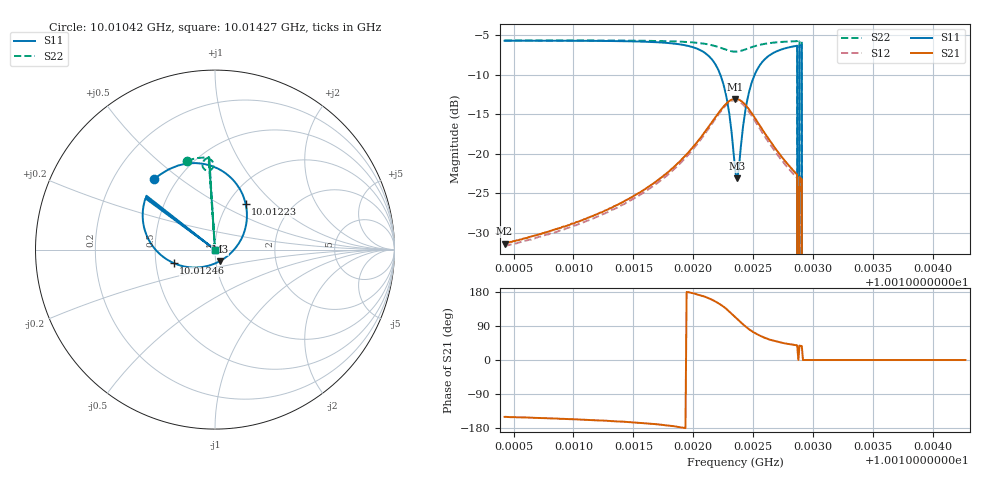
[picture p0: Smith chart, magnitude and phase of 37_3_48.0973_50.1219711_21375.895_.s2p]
#  HZ  S  RI  R  50.00
! Rohde & Schwarz Vector Network Analyzer
! Rohde-Schwarz,ZNB20-2Port,1311601062101988,3.16
! Created: UTC 12/23/2023, 3:38:21 AM
! freq[Hz]  re:S11  im:S11  re:S21  im:S21  re:S12  im:S12  re:S22  im:S22
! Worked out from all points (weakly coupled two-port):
!   401 points, 10.01042 GHz to 10.01427 GHz, reference 50 ohm
!   highest |S21| = -13.07 dB at 10.01235 GHz (marker M1); lowest = -31.4 dB at 10.01042 GHz (marker M2)
!   lowest |S11| = -23.1 dB at 10.01237 GHz (marker M3), VSWR 1.15, Z = 52.3 - j6.76 ohm
!   |S11| at or under -10 dB: 10.01223 GHz to 10.01251 GHz (288.1 kHz wide, 0.00288 % of centre); 10.01287 GHz to 10.01289 GHz (18.87 kHz wide, 0.000188 % of centre); 10.01291 GHz to end of sweep
!   |S22| runs from - to -5.7 dB; largest |S21 - S12| = 0.01
!   S11 on the Smith chart (normalised r, x): 10.01042 GHz: 0.38, +0.40; 10.01223 GHz: 1.21, +0.67; 10.01246 GHz: 0.62, -0.10; 10.01427 GHz: 1.00, +0.00
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1.0010425e10  -0.3392 0.391  -0.0234 -0.0134  -0.0217 -0.0142  -0.1546 0.4958
1.0011069e10  -0.2824 0.4331  -0.0349 -0.0146  -0.0328 -0.0158  -0.1114 0.5074
1.0011714e10  -0.1663 0.4774  -0.0677 -0.0117  -0.0645 -0.0149  -0.0601 0.5124
1.001206e10  0.0176 0.4504  -0.124 0.0206  -0.1214 0.013  -0.0217 0.4992
1.0012156e10  0.1091 0.3784  -0.1476 0.0566  -0.147 0.0476  -0.0108 0.4849
1.0012233e10  0.1712 0.2526  -0.156 0.1085  -0.1577 0.0996  -0.00853 0.4657
1.0012291e10  0.1664 0.1093  -0.1382 0.161  -0.1426 0.1518  -0.0168 0.4494
1.0012349e10  0.0752 -0.0315  -0.0893 0.2032  -0.094 0.196  -0.0354 0.4401
1.0012368e10  0.0271 -0.0643  -0.0686 0.2101  -0.0729 0.2034  -0.0428 0.4402
1.0012435e10  -0.1615 -0.0959  0.00447 0.2032  -0.00109 0.1967  -0.0631 0.452
1.0012464e10  -0.2303 -0.0753  0.0283 0.189  0.0216 0.1829  -0.0678 0.4598
1.0012522e10  -0.3263 -0.00614  0.0566 0.1549  0.0504 0.1499  -0.07 0.4751
1.0012599e10  -0.3856 0.0915  0.0704 0.1142  0.0635 0.1109  -0.0649 0.4909
1.0012849e10  -0.3901 0.2771  0.0587 0.0484  0.0539 0.0485  -0.0381 0.5127
1.0012858e10  -0.3887 0.2811  0.0581 0.0472  0.053 0.0473  -0.0371 0.5131
1.0012887e10  -0.3846 0.2929  0.056 0.0434  0.0515 0.0436  -0.0341 0.5143
1.0012897e10  -0.3832 0.2966  0.0556 0.0422  0.051 0.0425  -0.0331 0.5145
1.0012906e10  -0.3819 0.3001  0.0549 0.0413  0.0503 0.0415  -0.0323 0.5148
1.0012935e10  0 0  0 0  0 0  0 0
1.0012993e10  0 0  0 0  0 0  0 0
1.0013638e10  0 0  0 0  0 0  0 0
1.0014272e10  0 0  0 0  0 0  0 0
